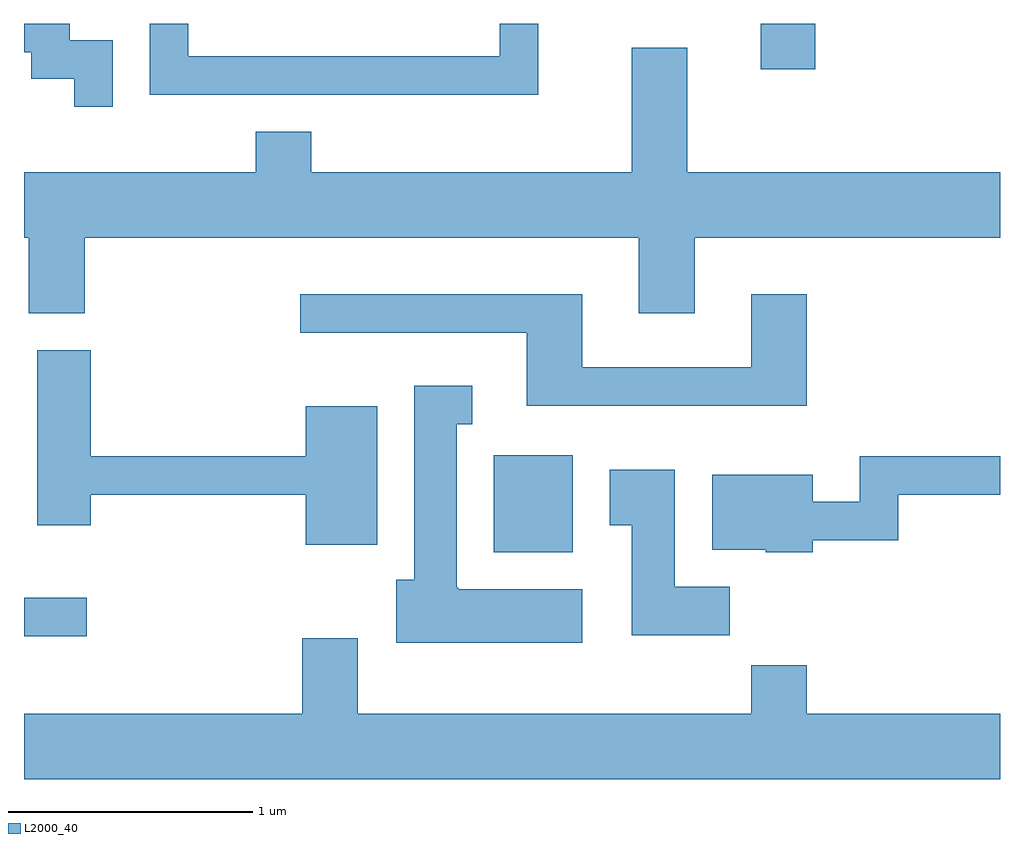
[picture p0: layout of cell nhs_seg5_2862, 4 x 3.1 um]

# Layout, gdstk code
import gdstk
lib = gdstk.Library(unit=1e-6, precision=1e-09)
def R(c, l, rs):  # rectangles x0, y0, x1, y1
    for r in rs: c.add(gdstk.rectangle(r[:2], r[2:], *l))
def P(c, l, *ps):  # polygons
    for p in ps: c.add(gdstk.Polygon(p, *l))
L2000_40 = (2000, 40)

nhs_seg5_2862 = lib.new_cell('nhs_seg5_2862')
R(nhs_seg5_2862, L2000_40, [(269.611,1499.561,269.868,1499.719), (271.536,1499.906,271.859,1500.304), (272.631,1501.886,272.854,1502.072)])
P(nhs_seg5_2862, L2000_40, [(269.974,1502.004),(269.799,1502.004),(269.799,1502.072),(269.611,1502.072),(269.611,1501.956),(269.641,1501.956),(269.641,1501.846),(269.816,1501.846),(269.816,1501.733),(269.974,1501.733)],
  [(271.719,1502.072),(271.561,1502.072),(271.561,1501.939),(270.284,1501.939),(270.284,1502.072),(270.126,1502.072),(270.126,1501.781),(271.719,1501.781)],
  [(269.859,1501.196),(272.131,1501.196),(272.131,1500.886),(272.359,1500.886),(272.359,1501.196),(273.611,1501.196),(273.611,1501.464),(272.329,1501.464),(272.329,1501.974),(272.101,1501.974),(272.101,1501.464),(270.789,1501.464),(270.789,1501.629),(270.561,1501.629),(270.561,1501.464),(269.611,1501.464),(269.611,1501.196),(269.631,1501.196),(269.631,1500.886),(269.859,1500.886)],
  [(272.819,1500.964),(272.591,1500.964),(272.591,1500.664),(271.899,1500.664),(271.899,1500.964),(270.743,1500.964),(270.743,1500.806),(271.671,1500.806),(271.671,1500.506),(272.819,1500.506)],
  [(271.059,1500.504),(270.766,1500.504),(270.766,1500.299),(269.884,1500.299),(269.884,1500.734),(269.666,1500.734),(269.666,1500.016),(269.884,1500.016),(269.884,1500.141),(270.766,1500.141),(270.766,1499.936),(271.059,1499.936)],
  [(271.899,1499.754),(271.39,1499.754),(271.39,1499.76),(271.384,1499.76),(271.384,1500.431),(271.448,1500.431),(271.448,1500.589),(271.211,1500.589),(271.211,1499.794),(271.136,1499.794),(271.136,1499.536),(271.899,1499.536)],
  [(272.844,1499.956),(273.194,1499.956),(273.194,1500.141),(273.611,1500.141),(273.611,1500.299),(273.036,1500.299),(273.036,1500.114),(272.844,1500.114),(272.844,1500.224),(272.431,1500.224),(272.431,1499.916),(272.65,1499.916),(272.65,1499.906),(272.844,1499.906)],
  [(272.504,1499.764),(272.279,1499.764),(272.279,1500.244),(272.011,1500.244),(272.011,1500.016),(272.101,1500.016),(272.101,1499.566),(272.504,1499.566)],
  [(273.611,1499.244),(272.819,1499.244),(272.819,1499.444),(272.591,1499.444),(272.591,1499.244),(270.979,1499.244),(270.979,1499.554),(270.751,1499.554),(270.751,1499.244),(269.611,1499.244),(269.611,1498.976),(273.611,1498.976)])

lib.write_gds('nhs_seg5_2862.gds')
